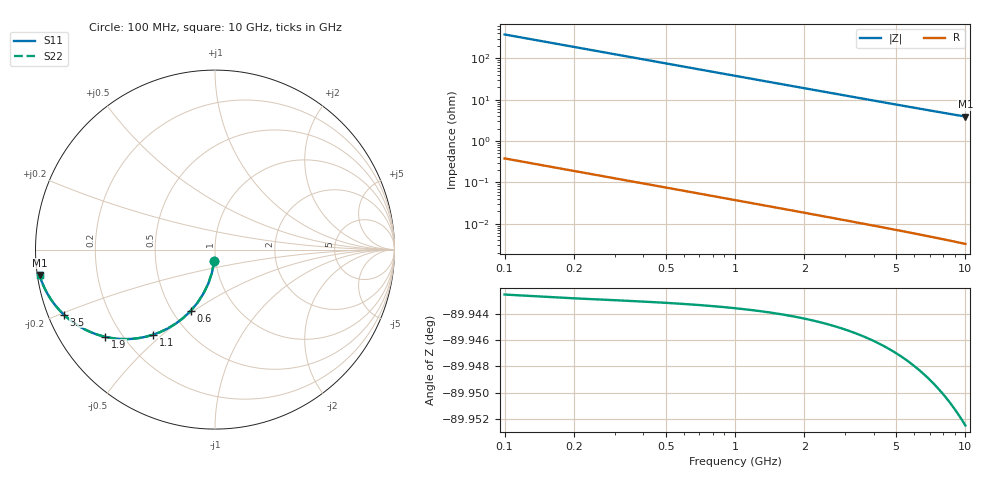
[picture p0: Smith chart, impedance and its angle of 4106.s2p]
# Hz S RI R 50.00
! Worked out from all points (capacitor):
!   100 points, 100 MHz to 10 GHz, reference 50 ohm
!   read as one part in shunt: C = 4.21 pF near 100 MHz
!   lowest |Z| = 3.9 ohm at 10 GHz (marker M1)
!   S11 on the Smith chart (normalised r, x): 100 MHz: 0.98, -0.13; 600 MHz: 0.61, -0.49; 1.1 GHz: 0.32, -0.47; 1.9 GHz: 0.14, -0.34; 3.5 GHz: 0.05, -0.21; 10 GHz: 0.01, -0.07
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1e8  -0.00439 -0.0657  0.9956 -0.0658  0.9956 -0.0658  -0.00439 -0.0657
2e8  -0.0173 -0.1298  0.9827 -0.13  0.9827 -0.13  -0.0173 -0.1298
3e8  -0.038 -0.1905  0.962 -0.1908  0.962 -0.1908  -0.038 -0.1905
4e8  -0.0655 -0.2467  0.9344 -0.2472  0.9344 -0.2472  -0.0655 -0.2467
5e8  -0.0986 -0.2974  0.9013 -0.298  0.9013 -0.298  -0.0986 -0.2974
6e8  -0.1361 -0.3421  0.8639 -0.3427  0.8639 -0.3427  -0.1361 -0.3421
8e8  -0.2186 -0.4124  0.7813 -0.4132  0.7813 -0.4132  -0.2186 -0.4124
9e8  -0.2614 -0.4385  0.7385 -0.4394  0.7385 -0.4394  -0.2614 -0.4385
1.1e9  -0.3458 -0.4745  0.6542 -0.4757  0.6542 -0.4757  -0.3458 -0.4745
1.4e9  -0.4611 -0.4972  0.5389 -0.4987  0.5389 -0.4987  -0.4611 -0.4972
1.8e9  -0.5856 -0.4912  0.4143 -0.4931  0.4143 -0.4931  -0.5856 -0.4912
1.9e9  -0.6116 -0.4859  0.3884 -0.4879  0.3884 -0.4879  -0.6116 -0.4859
2.2e9  -0.6784 -0.4654  0.3215 -0.4677  0.3215 -0.4677  -0.6784 -0.4654
2.6e9  -0.7465 -0.4331  0.2534 -0.4359  0.2534 -0.4359  -0.7465 -0.4331
3e9  -0.7967 -0.4003  0.2032 -0.4035  0.2032 -0.4035  -0.7967 -0.4003
3.4e9  -0.8342 -0.3695  0.1657 -0.3732  0.1657 -0.3732  -0.8342 -0.3695
3.5e9  -0.8421 -0.3623  0.1579 -0.366  0.1579 -0.366  -0.8421 -0.3623
4.2e9  -0.8847 -0.3166  0.1152 -0.3211  0.1152 -0.3211  -0.8847 -0.3166
5.1e9  -0.9188 -0.2699  0.0812 -0.2754  0.0812 -0.2754  -0.9188 -0.2699
6.7e9  -0.9513 -0.2111  0.0487 -0.2183  0.0487 -0.2183  -0.9513 -0.2111
8.4e9  -0.9685 -0.1695  0.0314 -0.1786  0.0314 -0.1786  -0.9685 -0.1695
1e10  -0.9776 -0.1418  0.0223 -0.1527  0.0223 -0.1527  -0.9776 -0.1418
